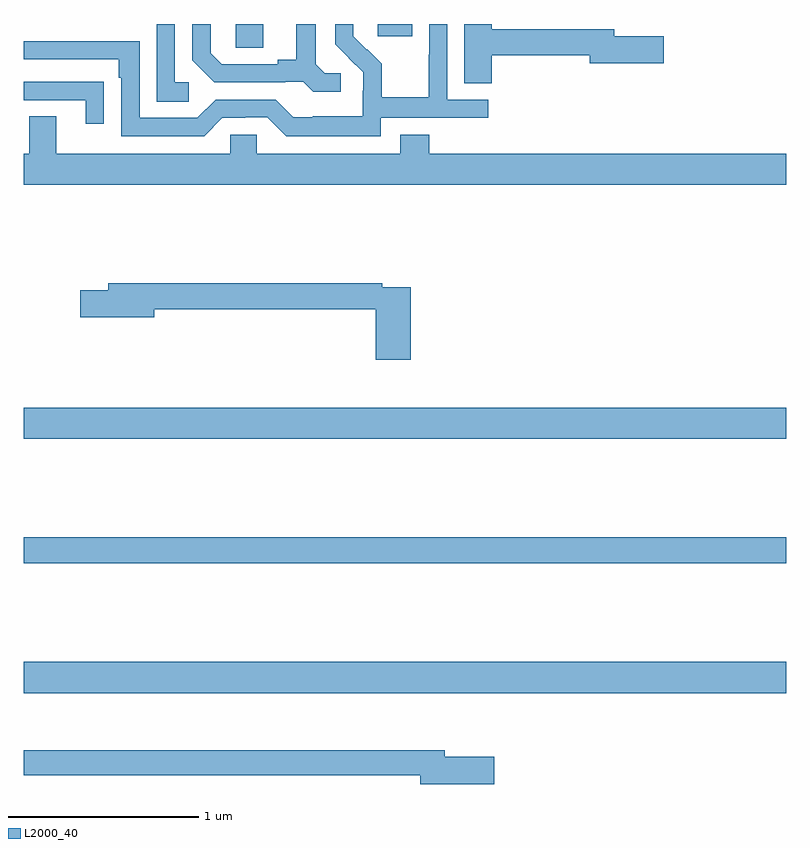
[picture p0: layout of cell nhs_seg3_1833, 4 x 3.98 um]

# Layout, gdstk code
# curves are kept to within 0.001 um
import gdstk
lib = gdstk.Library(unit=1e-6, precision=1e-09)
def R(c, l, rs):  # rectangles x0, y0, x1, y1
    for r in rs: c.add(gdstk.rectangle(r[:2], r[2:], *l))
def P(c, l, *ps):  # polygons
    for p in ps: c.add(gdstk.Polygon(p, *l))
L2000_40 = (2000, 40)

nhs_seg3_1833 = lib.new_cell('nhs_seg3_1833')
R(nhs_seg3_1833, L2000_40, [(205,724.892,209,725.056), (205,725.572,209,725.708), (205,726.224,209,726.388), (206.112,728.275,206.257,728.4), (206.858,728.337,207.037,728.4)])
P(nhs_seg3_1833, L2000_40, [(206.662,728.142),(206.58,728.142),(206.533,728.189),(206.533,728.4),(206.429,728.4),(206.429,728.213),(206.333,728.213),(206.333,728.19),(206.038,728.19),(205.981,728.247),(205.981,728.4),(205.884,728.4),(205.884,728.21),(206,728.094),(206.372,728.094),(206.372,728.097),(206.466,728.097),(206.518,728.045),(206.662,728.045)],
  [(207.455,728.236),(207.968,728.236),(207.968,728.194),(208.357,728.194),(208.357,728.336),(208.096,728.336),(208.096,728.372),(207.455,728.372),(207.455,728.4),(207.311,728.4),(207.311,728.089),(207.455,728.089)],
  [(205.867,728.094),(205.794,728.094),(205.794,728.4),(205.698,728.4),(205.698,727.993),(205.867,727.993)],
  [(206.874,727.908),(207.436,727.908),(207.436,728.004),(207.222,728.004),(207.222,728.4),(207.126,728.4),(207.126,728.24),(207.124,728.24),(207.124,728.017),(206.879,728.017),(206.879,728.191),(206.802,728.268),(206.799,728.265),(206.729,728.336),(206.729,728.4),(206.634,728.4),(206.634,728.294),(206.78,728.146),(206.78,728.049),(206.778,728.049),(206.778,727.915),(206.515,727.915),(206.515,727.911),(206.415,727.911),(206.322,728.004),(206.007,728.004),(205.911,727.908),(205.608,727.908),(205.608,728.31),(205,728.31),(205,728.214),(205.499,728.214),(205.499,728.117),(205.512,728.117),(205.512,727.812),(205.947,727.812),(206.043,727.908),(206.162,727.908),(206.162,727.911),(206.277,727.911),(206.377,727.811),(206.874,727.811)],
  [(205.421,728.096),(205.319,728.096),(205.319,728.097),(205,728.097),(205,728.001),(205.325,728.001),(205.325,727.878),(205.421,727.878)],
  [(209,727.72),(207.128,727.72),(207.128,727.819),(206.975,727.819),(206.975,727.72),(206.223,727.72),(206.223,727.818),(206.085,727.818),(206.085,727.72),(205.171,727.72),(205.171,727.915),(205.031,727.915),(205.031,727.72),(205,727.72),(205,727.556),(209,727.556)],
  [(207.029,727.02),(206.882,727.02),(206.882,727.04),(205.445,727.04),(205.445,727.004),(205.296,727.004),(205.296,726.862),(205.684,726.862),(205.684,726.904),(206.846,726.904),(206.846,726.639),(207.029,726.639)],
  [(207.469,724.557),(207.208,724.557),(207.208,724.591),(205,724.591),(205,724.462),(207.08,724.462),(207.08,724.415),(207.469,724.415)])

lib.write_gds('nhs_seg3_1833.gds')
